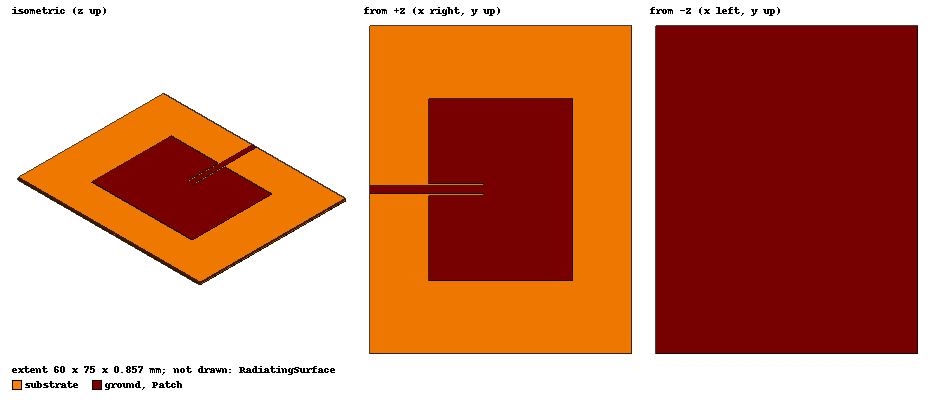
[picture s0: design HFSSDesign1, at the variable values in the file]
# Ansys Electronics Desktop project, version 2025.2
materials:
  vacuum: permittivity=1
  Rogers RO4003 (tm): permittivity=3.55 dielectric_loss_tangent=0.0027
  copper: permeability=0.999991 conductivity=58000000

design HFSSDesign1 (HFSS, HFSS Terminal Network, model units mm)
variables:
  tp = 0.035mm
  wp = 41.41mm
  lp = 32.75mm
  lg = 60mm
  wg = 75mm
  lin = 12.5mm
  win = 1.75mm
  ts = 0.787mm
  ig = 0.5mm
  fl = lg/2-lp/2
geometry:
  Patch [copper] = box(corner=(fl, wg/2-wp/2, 0mm), size=(lp, wp, tp))
  substrate [Rogers RO4003 (tm)] = box(corner=(0mm, 0mm, 0mm), size=(lg, wg, -ts))
  ground [copper] = box(corner=(0mm, 0mm, -ts), size=(lg, wg, -tp))
  feed = box(corner=(0mm, wg/2-win/2, 0mm), size=(fl+lin, win, tp))
  gap = box(corner=(fl, wg/2-win/2-ig, 0mm), size=(lin, win+2*ig, tp))
  Patch.subtract(gap)
  Patch.unite(feed)
  excitation = rectangle(corner=(0mm, wg/2-win/2, -ts-tp), y_size=win, z_size=tp+ts+tp)
  RadiatingSurface [vacuum] = region(absolute_offset=41.666667mm on all sides)
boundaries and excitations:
  PerfE1: Perfect E Objects=Patch
  PerfE2: Perfect E Objects=ground
  Open1: Radiation Objects=RadiatingSurface
  1: Lumped Port Objects=excitation LumpedPortType=Modal Modes{Mode1{IntLine{(0, 37.5, -0.822) -> (0, 37.5, 0)} CharImp=Zpi}} Impedance=50ohm
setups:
  Setup2: HfssDriven Frequency=2.4GHz MaxDeltaS=0.02 MaximumPasses=25 MinimumPasses=1 MinimumConvergedPasses=1 PercentRefinement=30 BasisOrder=1 PortAccuracy=2 DrivenSolverType="Direct Solver"
    sweep Sweep: 2GHz to 3GHz, 401 points; Type=Interpolating InterpTolerance=0.5 InterpMaxSolns=250 PassivityErrorTolerance=0.0001
    sweep Sweep1: 2GHz to 2.8GHz, 401 points; Type=Interpolating SaveFields SaveRadFields InterpTolerance=0.5 InterpMaxSolns=250 PassivityErrorTolerance=0.0001
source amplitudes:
  1:1: 1V 0deg
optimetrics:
  ParametricSetup1: Parametric Sim._Setups=[Setup2]
    sweep lp: LIN 32.65mm 32.85mm 0.02mm
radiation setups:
  Infinite Sphere1: Infinite Sphere Theta=-180deg..180deg step 2deg Phi=0deg..360deg step 2deg
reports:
  Terminal S Parameter Plot1: dB(St(1,1)) vs Freq on Setup2 : Sweep [lp=all]; markers m1 at 2.4GHz
  Terminal S Parameter Plot2: dB(St(1,1)) vs Freq on Setup2 : Sweep [lp=32.75mm]; markers m1 at 2.4GHz
  Gain Plot1: dB(GainTotal) vs Phi, Theta on Setup2 : LastAdaptive, Infinite Sphere1 [Freq=2.4GHz lp=32.65mm]
  Terminal Z Parameter Plot1: re(Zt(1,1)) vs Freq on Setup2 : Sweep [lp=32.75mm]; markers m1 at 2.4GHz
  Terminal VSWR Plot1: dB(VSWRt(1)) vs Freq on Setup2 : Sweep [lp=32.75mm]; markers m1 at 2.4GHz
  Gain Plot4: dB(GainTotal) vs Theta on Setup2 : LastAdaptive, Infinite Sphere1 [Phi=0deg,90deg Freq=2.4GHz lp=32.75mm]; markers m1 at 0deg
  Gain Plot5: dB(GainPhi), dB(GainTheta) vs Theta on Setup2 : LastAdaptive, Infinite Sphere1 [Phi=0deg,90deg Freq=2.4GHz lp=32.75mm]
